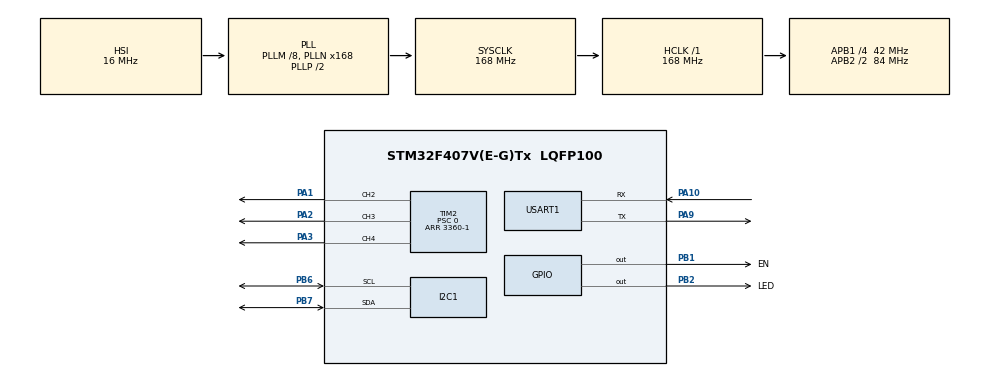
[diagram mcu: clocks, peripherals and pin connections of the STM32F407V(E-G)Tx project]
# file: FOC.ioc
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I2C1.I2C_Mode=I2C_Fast
Mcu.Family=STM32F4
Mcu.Name=STM32F407V(E-G)Tx
Mcu.Package=LQFP100
NVIC.PriorityGroup=NVIC_PRIORITYGROUP_4
NVIC.TIM1_UP_TIM10_IRQn=true\:0\:0\:false\:false\:true\:true\:true\:true
NVIC.USART1_IRQn=true\:0\:0\:false\:false\:true\:true\:true\:true
PA1.Signal=S_TIM2_CH2
PA10.Mode=Asynchronous
PA10.Signal=USART1_RX
PA13.Mode=Serial_Wire
PA13.Signal=SYS_JTMS-SWDIO
PA14.Mode=Serial_Wire
PA14.Signal=SYS_JTCK-SWCLK
PA2.Signal=S_TIM2_CH3
PA3.Signal=S_TIM2_CH4
PA9.Mode=Asynchronous
PA9.Signal=USART1_TX
PB1.GPIO_Label=EN
PB1.Signal=GPIO_Output
PB2.GPIO_Label=LED
PB2.Signal=GPIO_Output
PB6.Mode=I2C
PB6.Signal=I2C1_SCL
PB7.Mode=I2C
PB7.Signal=I2C1_SDA
PH0-OSC_IN.Mode=HSE-External-Oscillator
PH0-OSC_IN.Signal=RCC_OSC_IN
PH1-OSC_OUT.Mode=HSE-External-Oscillator
PH1-OSC_OUT.Signal=RCC_OSC_OUT
ProjectManager.HeapSize=0x200
ProjectManager.StackSize=0x400
ProjectManager.TargetToolchain=CMake
RCC.48MHZClocksFreq_Value=84000000
RCC.AHBFreq_Value=168000000
RCC.APB1CLKDivider=RCC_HCLK_DIV4
RCC.APB1Freq_Value=42000000
RCC.APB1TimFreq_Value=84000000
RCC.APB2CLKDivider=RCC_HCLK_DIV2
RCC.APB2Freq_Value=84000000
RCC.APB2TimFreq_Value=168000000
RCC.CortexFreq_Value=168000000
RCC.HCLKFreq_Value=168000000
RCC.HSE_VALUE=25000000
RCC.HSI_VALUE=16000000
RCC.LSE_VALUE=32768
RCC.PLLM=8
RCC.PLLN=168
RCC.SYSCLKFreq_VALUE=168000000
RCC.SYSCLKSource=RCC_SYSCLKSOURCE_PLLCLK
RCC.VCOOutputFreq_Value=336000000
SH.S_TIM2_CH2.0=TIM2_CH2,PWM Generation2 CH2
SH.S_TIM2_CH3.0=TIM2_CH3,PWM Generation3 CH3
SH.S_TIM2_CH4.0=TIM2_CH4,PWM Generation4 CH4
TIM10.Period=1000-1
TIM10.Prescaler=168-1
TIM2.Channel-PWM\ Generation2\ CH2=TIM_CHANNEL_2
TIM2.Channel-PWM\ Generation3\ CH3=TIM_CHANNEL_3
TIM2.Channel-PWM\ Generation4\ CH4=TIM_CHANNEL_4
TIM2.CounterMode=TIM_COUNTERMODE_CENTERALIGNED1
TIM2.Period=3360-1
TIM2.Prescaler=0
USART1.VirtualMode=VM_ASYNC
VP_TIM10_VS_ClockSourceINT.Mode=Enable_Timer
board=custom

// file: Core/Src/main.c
/* USER CODE BEGIN Header */
/**
  ******************************************************************************
  * @file           : main.c
  * @brief          : Main program body
  ******************************************************************************
  * @attention
  *
  * Copyright (c) 2026 STMicroelectronics.
  * All rights reserved.
  *
  * This software is licensed under terms that can be found in the LICENSE file
  * in the root directory of this software component.
  * If no LICENSE file comes with this software, it is provided AS-IS.
  *
  ******************************************************************************
  */
/* USER CODE END Header */
#include "main.h"
#include "FOCMotor.h"
#include "MagneticSensor.h"
#include "i2c.h"
#include "pid.h"
#include "stm32f4xx_hal.h"
#include "stm32f4xx_hal_gpio.h"
#include "tim.h"
#include "usart.h"
#include "gpio.h"

/* USER CODE BEGIN Includes */
#include "headfile.h"

/* USER CODE END Includes */

/* USER CODE BEGIN PV */
float target = 6.28f;   /* FOC 控制目标（力矩/速度/角度，根据 controller 模式） */
/* USER CODE END PV */

void SystemClock_Config(void);

/* USER CODE BEGIN 0 */
void commander_run(void);
/* USER CODE END 0 */

int main(void)
{

  /* MCU Configuration--------------------------------------------------------*/

  /* Reset of all peripherals, Initializes the Flash interface and the Systick. */
  HAL_Init();

  /* Configure the system clock */
  SystemClock_Config();

  /* Initialize all configured peripherals */
  MX_GPIO_Init();
  MX_TIM2_Init();
  MX_USART1_UART_Init();
  MX_I2C1_Init();
  MX_TIM10_Init();
  /* USER CODE BEGIN 2 */

  /* 使能 DWT 周期计数器（供 MagneticSensor / PID / FOC 做微秒计时）*/
  DWT_Init();

  // 点亮LED
  HAL_GPIO_WritePin(LED_GPIO_Port, LED_Pin, GPIO_PIN_SET);

  HAL_Delay(1000); // 等待系统稳定
  MagneticSensor_Init();

  // 电机参数设置
  voltage_power_supply=12;   //V，电源电压
	pole_pairs=7;              //电机极对数，按照实际设置，虽然可以上电检测但有失败的概率
	voltage_limit=6;           //V，最大值需小于12/1.732=6.9
	velocity_limit=20;         //rad/s angleOpenloop() and PID_angle() use it
	voltage_sensor_align=2.5;  //V  重要参数，航模电机大功率0.5-1，云台电机小功率2-3
	torque_controller=Type_voltage;  //当前只有电压模式
	controller=Type_torque;    //Type_angle: 角度 Type_torque: 力矩 Type_velocity: 速度
	target=0;

  Motor_init();
	Motor_initFOC();
  PID_init();

  /* USER CODE END 2 */

  /* Infinite loop */
  while (1)
  {
    /* USER CODE BEGIN 3 */
    move(target);
    loopFOC();
    commander_run();
  }
  /* USER CODE END 3 */
}

void SystemClock_Config(void)
{
  RCC_OscInitTypeDef RCC_OscInitStruct = {0};
  RCC_ClkInitTypeDef RCC_ClkInitStruct = {0};

  /** Configure the main internal regulator output voltage
  */
  __HAL_RCC_PWR_CLK_ENABLE();
  __HAL_PWR_VOLTAGESCALING_CONFIG(PWR_REGULATOR_VOLTAGE_SCALE1);

  /** Initializes the RCC Oscillators according to the specified parameters
  * in the RCC_OscInitTypeDef structure.
  */
  RCC_OscInitStruct.OscillatorType = RCC_OSCILLATORTYPE_HSI;
  RCC_OscInitStruct.HSIState = RCC_HSI_ON;
  RCC_OscInitStruct.HSICalibrationValue = RCC_HSICALIBRATION_DEFAULT;
  RCC_OscInitStruct.PLL.PLLState = RCC_PLL_ON;
  RCC_OscInitStruct.PLL.PLLSource = RCC_PLLSOURCE_HSI;
  RCC_OscInitStruct.PLL.PLLM = 8;
  RCC_OscInitStruct.PLL.PLLN = 168;
  RCC_OscInitStruct.PLL.PLLP = RCC_PLLP_DIV2;
  RCC_OscInitStruct.PLL.PLLQ = 4;
  if (HAL_RCC_OscConfig(&RCC_OscInitStruct) != HAL_OK)
  {
    Error_Handler();
  }

  /** Initializes the CPU, AHB and APB buses clocks
  */
  RCC_ClkInitStruct.ClockType = RCC_CLOCKTYPE_HCLK|RCC_CLOCKTYPE_SYSCLK
                              |RCC_CLOCKTYPE_PCLK1|RCC_CLOCKTYPE_PCLK2;
  RCC_ClkInitStruct.SYSCLKSource = RCC_SYSCLKSOURCE_PLLCLK;
  RCC_ClkInitStruct.AHBCLKDivider = RCC_SYSCLK_DIV1;
  RCC_ClkInitStruct.APB1CLKDivider = RCC_HCLK_DIV4;
  RCC_ClkInitStruct.APB2CLKDivider = RCC_HCLK_DIV2;

  if (HAL_RCC_ClockConfig(&RCC_ClkInitStruct, FLASH_LATENCY_5) != HAL_OK)
  {
    Error_Handler();
  }
}

/* USER CODE BEGIN 4 */
void commander_run(void)
{
  if((USART_RX_STA&0x8000)!=0)
	{
		switch(USART_RX_BUF[0])
		{
			case 'H':
				printf("Hello World!\r\n");
				break;
			case 'T':   //T6.28
				target=atof((const char *)(USART_RX_BUF+1));
				printf("RX=%.4f\r\n", target);
				break;
			case 'D':   //D
				M1_Disable;
				printf("OK!\r\n");
				break;
			case 'E':   //E
				M1_Enable;
				printf("OK!\r\n");
				break;
		}
		USART_RX_STA=0;
	}
}

/* USER CODE END 4 */

void Error_Handler(void)
{
  __disable_irq();
  while (1)
  {
  }
}
